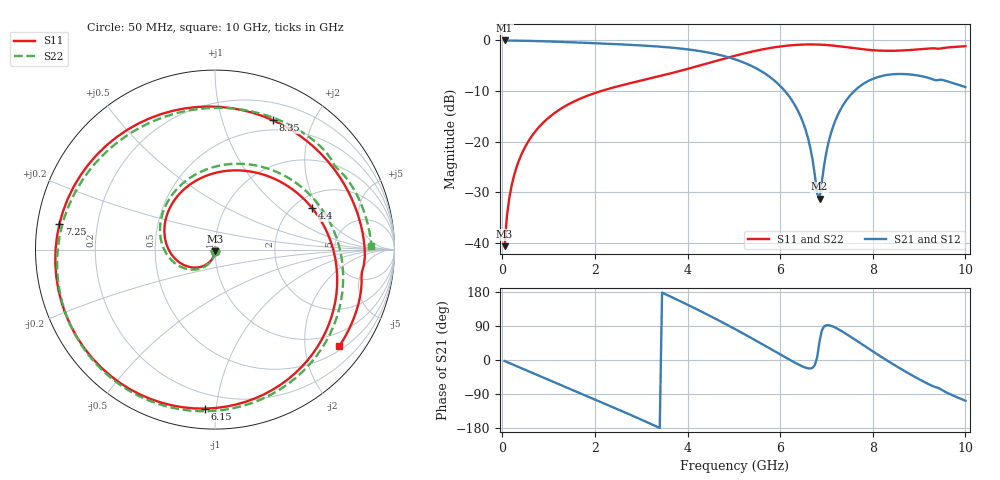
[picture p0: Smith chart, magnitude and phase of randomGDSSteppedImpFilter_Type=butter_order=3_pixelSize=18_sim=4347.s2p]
! freq	dB(S11)	phase(S11)	dB(S12)	phase(S12)
!  dB(S21)	phase(S21)	dB(S22)	phase(S22)
!S-par simulation data
#  GHz  S  DB  R 50
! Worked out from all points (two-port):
!   200 points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, 50 MHz to 10 GHz, reference 50 ohm
!   highest |S21| = -0.01 dB at 50 MHz (marker M1); lowest = -31.2 dB at 6.85 GHz (marker M2)
!   |S21| within 3 dB of the highest: start of sweep to 4.754 GHz
!   lowest |S11| = -40.6 dB at 50 MHz (marker M3), VSWR 1.02, Z = 50 - j0.933 ohm
!   |S11| at or under -10 dB: start of sweep to 2.13 GHz
!   |S22| runs from -40.6 to -0.7 dB; largest |S21 - S12| = 0
!   S11 on the Smith chart (normalised r, x): 50 MHz: 1.00, -0.02; 4.4 GHz: 2.48, +1.75; 6.15 GHz: 0.11, -0.93; 7.25 GHz: 0.07, +0.08; 8.35 GHz: 0.39, +1.48; 10 GHz: 0.61, -2.81
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0.05  -40.59 -91.8  -0.01 -2.7  -0.01 -2.7  -40.59 -91.4
0.1  -34.66 -95.0  -0.01 -5.3  -0.01 -5.3  -34.65 -94.4
0.2  -28.70 -101.1  -0.02 -10.6  -0.02 -10.6  -28.70 -99.8
0.5  -20.90 -118.2  -0.07 -26.2  -0.07 -26.2  -20.89 -115.1
1.15  -14.18 -154.4  -0.24 -60.0  -0.24 -60.0  -14.18 -147.2
1.75  -11.23 172.6  -0.45 -91.1  -0.45 -91.1  -11.23 -176.5
2.65  -8.69 122.8  -0.82 -138.3  -0.82 -138.3  -8.69 138.7
3.4  -7.03 80.8  -1.23 -179.4  -1.23 -179.4  -7.05 98.6
3.85  -5.99 55.2  -1.60 154.8  -1.60 154.8  -6.00 72.6
4.4  -4.60 23.1  -2.31 121.7  -2.31 121.7  -4.62 38.6
5.05  -2.96 -17.0  -3.81 80.0  -3.81 80.0  -2.98 -4.6
5.6  -1.80 -53.6  -6.11 42.8  -6.11 42.8  -1.81 -43.3
6.15  -1.04 -93.6  -10.51 4.4  -10.51 4.4  -1.01 -83.6
6.5  -0.81 -121.6  -16.33 -17.9  -16.33 -17.9  -0.76 -110.1
6.7  -0.79 -138.6  -23.54 -20.5  -23.54 -20.5  -0.72 -125.6
6.85  -0.83 -151.9  -31.24 48.9  -31.24 48.9  -0.74 -137.3
7  -0.91 -165.6  -21.97 91.8  -21.97 91.8  -0.80 -149.2
7.25  -1.12 170.6  -14.60 81.7  -14.60 81.7  -1.00 -168.9
7.8  -1.75 116.5  -8.54 38.9  -8.54 38.9  -1.64 148.2
8.35  -2.05 65.7  -6.75 -4.5  -6.75 -4.5  -2.05 107.3
9.1  -1.68 9.9  -7.15 -57.2  -7.15 -57.2  -1.79 54.6
10  -1.14 -37.7  -9.20 -107.5  -9.20 -107.5  -1.19 1.2
